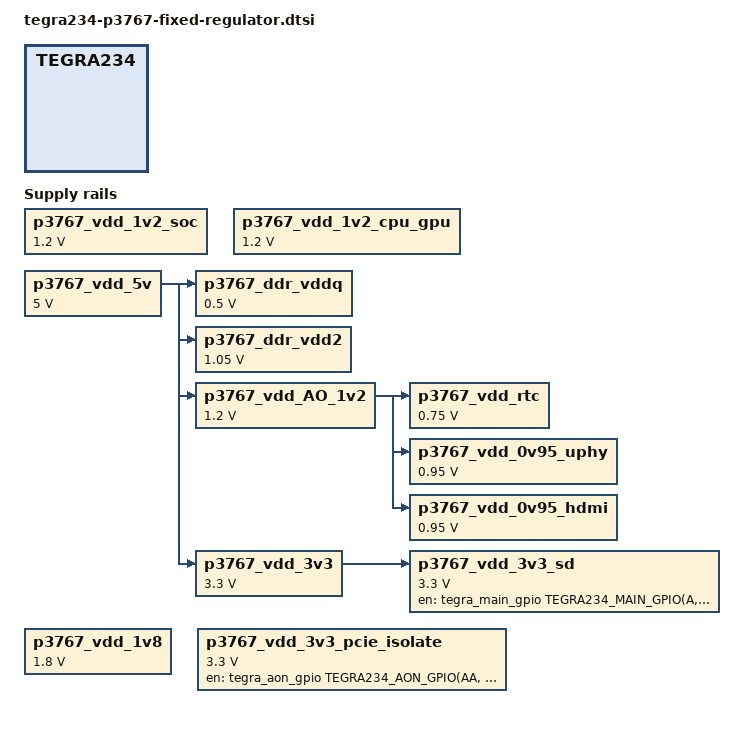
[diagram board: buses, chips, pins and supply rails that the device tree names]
/*
 * Copyright (c) 2022, NVIDIA CORPORATION.  All rights reserved.
 *
 * This program is free software; you can redistribute it and/or modify
 * it under the terms of the GNU General Public License as published by
 * the Free Software Foundation; either version 2 of the License, or
 * (at your option) any later version.
 *
 * This program is distributed in the hope that it will be useful, but WITHOUT
 * ANY WARRANTY; without even the implied warranty of MERCHANTABILITY or
 * FITNESS FOR A PARTICULAR PURPOSE.  See the GNU General Public License for
 * more details.
 */

#include <t234-common-cvm/tegra234-platforms-simple-bus.dtsi>
#include "dt-bindings/gpio/tegra234-gpio.h"

/ {
	fixed-regulators {
		p3767_vdd_1v2_soc: regulator@0 {
			compatible = "regulator-fixed";
			reg = <0>;
			regulator-name = "vdd-soc";
			regulator-min-microvolt = <1200000>;
			regulator-max-microvolt = <1200000>;
			/*
			 * EN pin is connected to SOC_REG_EN which
			 * is set by PMIC MAX77851 GPIO out.
			 */
			regulator-always-on;
		};
		p3767_vdd_1v2_cpu_gpu: regulator@1 {
			compatible = "regulator-fixed";
			reg = <1>;
			regulator-name = "vdd-cpu-gpu";
			regulator-min-microvolt = <1200000>;
			regulator-max-microvolt = <1200000>;
			regulator-always-on;
		};
		p3767_vdd_5v: regulator@2 {
			compatible = "regulator-fixed";
			reg = <2>;
			regulator-name = "vdd-5v";
			regulator-min-microvolt = <5000000>;
			regulator-max-microvolt = <5000000>;
			/*
			 * This is 20v coming from the baseboard through
			 * vdd_in pins
			 */
			regulator-always-on;
		};
		p3767_vdd_1v8: regulator@3 {
			compatible = "regulator-fixed";
			reg = <3>;
			regulator-name = "sys-vdd-1v8";
			regulator-min-microvolt = <1800000>;
			regulator-max-microvolt = <1800000>;
			/*
			 * This is 20v coming from the baseboard through
			 * vdd_in pins, EN pin is connected to VDD_1V8_EN which
			 * is set by PMIC MAX77851 GPIO out.
			 */
			regulator-always-on;
		};
		p3767_ddr_vddq: regulator@4 {
			compatible = "regulator-fixed";
			reg = <4>;
			regulator-name = "ddr-vddq";
			regulator-min-microvolt = <500000>;
			regulator-max-microvolt = <500000>;
			vin-supply = <&p3767_vdd_5v>;
			regulator-always-on;
		};
		p3767_ddr_vdd2: regulator@5 {
			compatible = "regulator-fixed";
			reg = <5>;
			regulator-name = "ddr-vdd2";
			regulator-min-microvolt = <1050000>;
			regulator-max-microvolt = <1050000>;
			vin-supply = <&p3767_vdd_5v>;
			regulator-always-on;
		};
		p3767_vdd_AO_1v2: regulator@6 {
			compatible = "regulator-fixed";
			reg = <6>;
			regulator-name = "vdd-AO-1v2";
			regulator-min-microvolt = <1200000>;
			regulator-max-microvolt = <1200000>;
			vin-supply = <&p3767_vdd_5v>;
			regulator-always-on;
		};
		p3767_vdd_3v3: regulator@7 {
			compatible = "regulator-fixed";
			reg = <7>;
			regulator-name = "vdd-3v3";
			regulator-min-microvolt = <3300000>;
			regulator-max-microvolt = <3300000>;
			vin-supply = <&p3767_vdd_5v>;
			regulator-always-on;
		};
		p3767_vdd_3v3_sd: regulator@8 {
			compatible = "regulator-fixed";
			reg = <8>;
			regulator-name = "vdd-3v3-sd";
			regulator-min-microvolt = <3300000>;
			regulator-max-microvolt = <3300000>;
			vin-supply = <&p3767_vdd_3v3>;
			gpio = <&tegra_main_gpio TEGRA234_MAIN_GPIO(A, 0) GPIO_ACTIVE_HIGH>;
			enable-active-high;
		};
		p3767_vdd_rtc: regulator@9 {
			compatible = "regulator-fixed";
			reg = <9>;
			regulator-name = "vdd-rtc";
			regulator-min-microvolt = <750000>;
			regulator-max-microvolt = <750000>;
			vin-supply = <&p3767_vdd_AO_1v2>;
			regulator-always-on;
		};
		p3767_vdd_0v95_uphy: regulator@10 {
			compatible = "regulator-fixed";
			reg = <10>;
			regulator-name = "vdd-0v95-uphy";
			regulator-min-microvolt = <950000>;
			regulator-max-microvolt = <950000>;
			vin-supply = <&p3767_vdd_AO_1v2>;
			regulator-always-on;
		};
		p3767_vdd_0v95_hdmi: regulator@11 {
			compatible = "regulator-fixed";
			reg = <11>;
			regulator-name = "vdd-0v95-hdmi";
			regulator-min-microvolt = <950000>;
			regulator-max-microvolt = <950000>;
			vin-supply = <&p3767_vdd_AO_1v2>;
			regulator-always-on;
		};

		p3767_vdd_3v3_pcie_isolate: regulator@12 {
			compatible = "regulator-fixed";
			reg = <12>;
			regulator-name = "vdd-3v3-pcie-isolate";
			regulator-min-microvolt = <3300000>;
			regulator-max-microvolt = <3300000>;
			gpio = <&tegra_aon_gpio TEGRA234_AON_GPIO(AA, 5) GPIO_ACTIVE_HIGH>;
			enable-active-high;
 		};
	};
};
